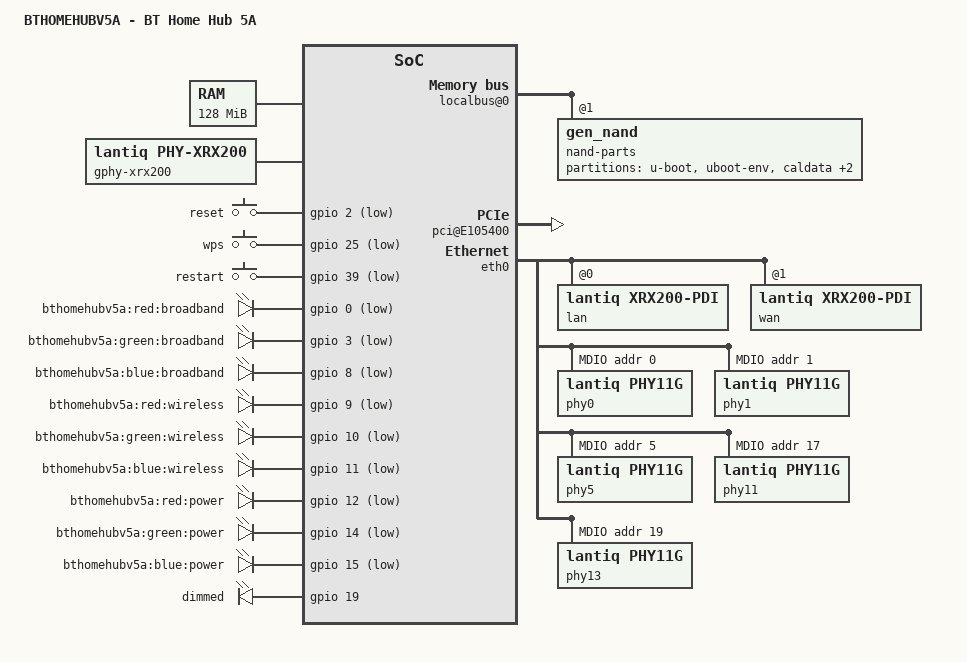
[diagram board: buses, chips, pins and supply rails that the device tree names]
/dts-v1/;

/include/ "vr9.dtsi"

/ {
	model = "BTHOMEHUBV5A - BT Home Hub 5A";

	chosen {
		bootargs = "console=ttyLTQ0,115200 init=/etc/preinit";

		leds {
			boot = &power_green;
			failsafe = &power_red;
			running = &power_blue;

			internet = &broadband_blue;
			wifi = &wireless_blue;
		};
	};

	memory@0 {
		reg = <0x0 0x8000000>;
	};

	fpi@10000000 {
		localbus@0 {
			nand-parts@0 {
				compatible = "gen_nand", "lantiq,nand-xway";
				lantiq,cs = <1>;
				bank-width = <2>;
				reg = <0x1 0x0 0x2000000>;
				#address-cells = <1>;
				#size-cells = <1>;

				partition@0 {
					label = "u-boot";
					reg = <0x0 0x40000>;
					read-only;
				};
				partition@40000 {
					label = "uboot-env";
					reg = <0x40000 0x40000>;
				};
				caldata: partition@80000 {
					label = "caldata";
					reg = <0x80000 0x20000>;
					read-only;
				};
				partition@a0000 {
					label = "kernel";
					reg = <0xa0000 0x200000>;
				};
				partition@2a0000 {
					label = "ubi";
					reg = <0x2a0000 0x7d60000>;
				};
			};
		};

		gpio: pinmux@E100B10 {
			pinctrl-names = "default";
			pinctrl-0 = <&state_default>;

			interrupt-parent = <&icu0>;
			interrupts = <166 135 66 40 41 42 38>;

			state_default: pinmux {
				mdio {
					lantiq,groups = "mdio";
					lantiq,function = "mdio";
				};
				pci_rst {
					lantiq,pins = "io21";
					lantiq,output = <1>;
					lantiq,open-drain;
				};
				pcie_rst {
					lantiq,pins = "io38";
					lantiq,pull = <0>;
					lantiq,output = <1>;
					lantiq,open-drain;
				};
				usb_vbus {
					lantiq,pins = "io33";
					lantiq,pull = <0>;
					lantiq,open-drain = <0>;
					lantiq,output = <1>;
				};
				nand_out {
					lantiq,groups = "nand cle", "nand ale";
					lantiq,function = "ebu";
					lantiq,output = <1>;
					lantiq,open-drain = <0>;
					lantiq,pull = <0>;
				};
				nand_cs1 {
					lantiq,groups = "nand cs1";
					lantiq,function = "ebu";
					lantiq,open-drain = <0>;
					lantiq,pull = <0>;
				};
			};
		};

		ifxhcd@E101000 {
			status = "okay";
			gpios = <&gpio 33 0>;
		};

		pci@E105400 {
			status = "okay";
			lantiq,bus-clock = <33333333>;
			interrupt-map-mask = <0xf800 0x0 0x0 0x7>;
			interrupt-map = <0x7000 0 0 1 &icu0 30 1>;
			gpio-reset = <&gpio 21 0>;
		};
	};

	gphy-xrx200 {
		compatible = "lantiq,phy-xrx200";
		firmware1 = "lantiq/vr9_phy11g_a1x.bin";	/*VR9 1.1*/
		firmware2 = "lantiq/vr9_phy11g_a2x.bin";	/*VR9 1.2*/
		phys = [ 00 01 ];
	};

	ath9k_eep {
		compatible = "ath9k,eeprom";
		ath,eep-flash = <&caldata 0x1000>;
		ath,mac-offset = <0x110c>;
		ath,mac-increment = <2>;
		ath,pci-slot = <0xe>; /* 14 */
	};

	gpio-keys-polled {
		compatible = "gpio-keys-polled";
		#address-cells = <1>;
		#size-cells = <0>;
		poll-interval = <100>;

		reset {
			label = "reset";
			gpios = <&gpio 2 1>;
			linux,code = <0x198>;
		};

		wps {
			label = "wps";
			gpios = <&gpio 25 1>;
			linux,code = <0x211>;
		};

		restart {
			label = "restart";
			gpios = <&gpio 39 1>;
			linux,code = <0x198>;
		};
	};

	gpio-leds {
		compatible = "gpio-leds";

		/* broadband-* is a single RGB led */
		broadband-red {
			label = "bthomehubv5a:red:broadband";
			gpios = <&gpio 0 1>;
		};
		broadband-green {
			label = "bthomehubv5a:green:broadband";
			gpios = <&gpio 3 1>;
		};
		broadband_blue: broadband-blue {
			label = "bthomehubv5a:blue:broadband";
			gpios = <&gpio 8 1>;
		};

		/* wireless-* is a single RGB led */
		wireless-red {
			label = "bthomehubv5a:red:wireless";
			gpios = <&gpio 9 1>;
		};
		wireless-green {
			label = "bthomehubv5a:green:wireless";
			gpios = <&gpio 10 1>;
		};
		wireless_blue: wireless-blue {
			label = "bthomehubv5a:blue:wireless";
			gpios = <&gpio 11 1>;
		};

		/* power-* is a single RGB led */
		power_red: power-red {
			label = "bthomehubv5a:red:power";
			gpios = <&gpio 12 1>;
		};
		power_green: power-green {
			label = "bthomehubv5a:green:power";
			gpios = <&gpio 14 1>;
			default-state = "keep";
		};
		power_blue: power-blue {
			label = "bthomehubv5a:blue:power";
			gpios = <&gpio 15 1>;
		};

		dimmed {
			label = "dimmed";
			gpios = <&gpio 19 0>;
		};
	};
};

&eth0 {
	lan: interface@0 {
		compatible = "lantiq,xrx200-pdi";
		#address-cells = <1>;
		#size-cells = <0>;
		reg = <0>;
		mtd-mac-address = <&caldata 0x110c>;
		lantiq,switch;

		ethernet@0 {
			compatible = "lantiq,xrx200-pdi-port";
			reg = <0>;
			phy-mode = "rgmii";
			phy-handle = <&phy0>;
		};
		ethernet@1 {
			compatible = "lantiq,xrx200-pdi-port";
			reg = <1>;
			phy-mode = "rgmii";
			phy-handle = <&phy1>;
		};
		ethernet@2 {
			compatible = "lantiq,xrx200-pdi-port";
			reg = <2>;
			phy-mode = "gmii";
			phy-handle = <&phy11>;
		};
		ethernet@4 {
			compatible = "lantiq,xrx200-pdi-port";
			reg = <4>;
			phy-mode = "gmii";
			phy-handle = <&phy13>;
		};
	};

	wan: interface@1 {
		compatible = "lantiq,xrx200-pdi";
		#address-cells = <1>;
		#size-cells = <0>;
		reg = <1>;
		mtd-mac-address = <&caldata 0x110c>;
		mtd-mac-address-increment = <4>;
		lantiq,wan;

		ethernet@5 {
			compatible = "lantiq,xrx200-pdi-port";
			reg = <5>;
			phy-mode = "rgmii";
			phy-handle = <&phy5>;
		};
	};

	mdio@0 {
		#address-cells = <1>;
		#size-cells = <0>;
		compatible = "lantiq,xrx200-mdio";

		phy0: ethernet-phy@0 {
			reg = <0x0>;
			compatible = "lantiq,phy11g", "ethernet-phy-ieee802.3-c22";
		};
		phy1: ethernet-phy@1 {
			reg = <0x1>;
			compatible = "lantiq,phy11g", "ethernet-phy-ieee802.3-c22";
		};
		phy5: ethernet-phy@5 {
			reg = <0x5>;
			compatible = "lantiq,phy11g", "ethernet-phy-ieee802.3-c22";
		};
		phy11: ethernet-phy@11 {
			reg = <0x11>;
			compatible = "lantiq,phy11g", "ethernet-phy-ieee802.3-c22";
		};
		phy13: ethernet-phy@13 {
			reg = <0x13>;
			compatible = "lantiq,phy11g", "ethernet-phy-ieee802.3-c22";
		};
	};
};
